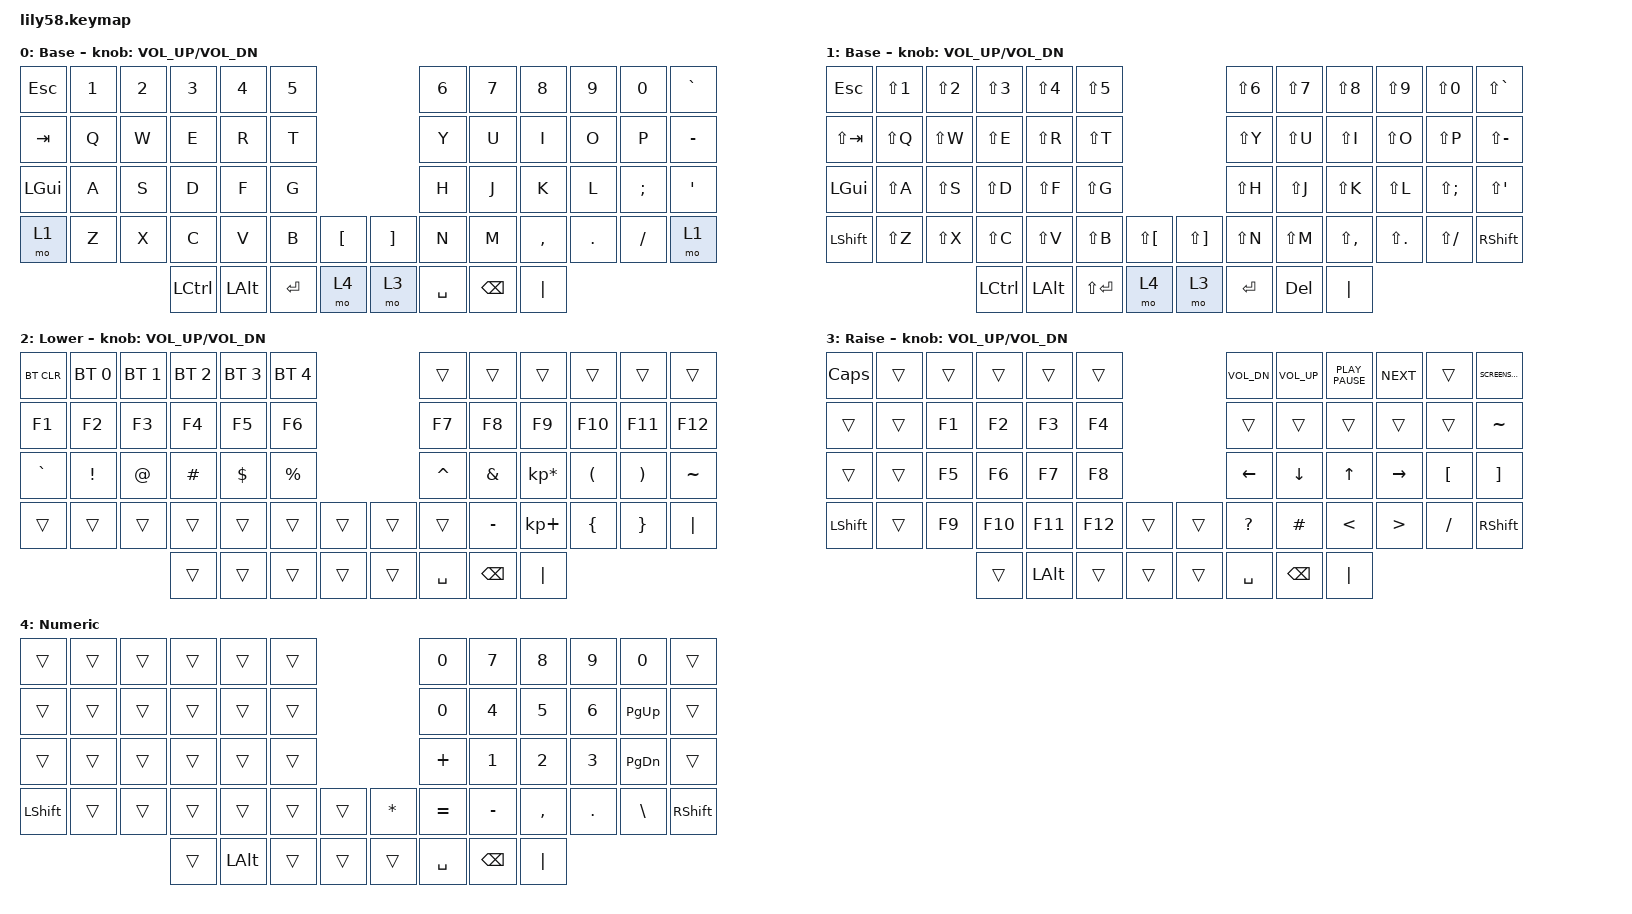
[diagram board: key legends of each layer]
/*
 * Copyright (c) 2020 The ZMK Contributors
 *
 * SPDX-License-Identifier: MIT
 */

#include <behaviors.dtsi>
#include <dt-bindings/zmk/bt.h>
#include <dt-bindings/zmk/keys.h>

/ {
    keymap {
        compatible = "zmk,keymap";

        default_layer {
            // ------------------------------------------------------------------------------------------------------------
            // |  ESC  |  1  |  2  |  3   |  4   |  5   |                   |  6   |  7    |  8    |  9   |   0   |   `   |
            // |  TAB  |  Q  |  W  |  E   |  R   |  T   |                   |  Y   |  U    |  I    |  O   |   P   |   -   |
            // |  CTRL |  A  |  S  |  D   |  F   |  G   |                   |  H   |  J    |  K    |  L   |   ;   |   '   |
            // | SHIFT |  Z  |  X  |  C   |  V   |  B   |   "["  |  |  "]"  |  N   |  M    |  ,    |  .   |   /   | SHIFT |
            //                     | ALT  | GUI  | LOWER|  SPACE |  | ENTER | RAISE| BSPC  | GUI   |

            display-name = "Base";
            bindings = <
&kp ESC   &kp N1  &kp N2  &kp N3     &kp N4    &kp N5                         &kp N6     &kp N7         &kp N8     &kp N9   &kp N0    &kp GRAVE
&kp TAB   &kp Q   &kp W   &kp E      &kp R     &kp T                          &kp Y      &kp U          &kp I      &kp O    &kp P     &kp MINUS
&kp LGUI  &kp A   &kp S   &kp D      &kp F     &kp G                          &kp H      &kp J          &kp K      &kp L    &kp SEMI  &kp SQT
&mo 1     &kp Z   &kp X   &kp C      &kp V     &kp B    &kp LBKT    &kp RBKT  &kp N      &kp M          &kp COMMA  &kp DOT  &kp FSLH  &mo 1
                          &kp LCTRL  &kp LALT  &kp RET  &mo 4       &mo 3     &kp SPACE  &kp BACKSPACE  &kp PIPE
            >;

            sensor-bindings = <&inc_dec_kp C_VOL_UP C_VOL_DN>;
        };

        shifted_base {
            display-name = "Base";
            bindings = <
&kp ESC         &kp LS(NUMBER_1)  &kp LS(N2)  &kp LS(N3)  &kp LS(N4)  &kp LS(N5)                                 &kp LS(N6)  &kp LS(N7)  &kp LS(N8)     &kp LS(N9)   &kp LS(N0)    &kp LS(GRAVE)
&kp LS(TAB)     &kp LS(Q)         &kp LS(W)   &kp LS(E)   &kp LS(R)   &kp LS(T)                                  &kp LS(Y)   &kp LS(U)   &kp LS(I)      &kp LS(O)    &kp LS(P)     &kp LS(MINUS)
&kp LGUI        &kp LS(A)         &kp LS(S)   &kp LS(D)   &kp LS(F)   &kp LS(G)                                  &kp LS(H)   &kp LS(J)   &kp LS(K)      &kp LS(L)    &kp LS(SEMI)  &kp LS(SQT)
&kp LEFT_SHIFT  &kp LS(Z)         &kp LS(X)   &kp LS(C)   &kp LS(V)   &kp LS(B)    &kp LS(LBKT)    &kp LS(RBKT)  &kp LS(N)   &kp LS(M)   &kp LS(COMMA)  &kp LS(DOT)  &kp LS(FSLH)  &kp RIGHT_SHIFT
                                              &kp LCTRL   &kp LALT    &kp LS(RET)  &mo 4           &mo 3         &kp RET     &kp DELETE  &kp PIPE
            >;

            sensor-bindings = <&inc_dec_kp C_VOL_UP C_VOL_DN>;
            label = "shifted_base";
        };

        lower_layer {
            // ------------------------------------------------------------------------------------------------------------
            // | BTCLR | BT1 | BT2 |  BT3 |  BT4 |  BT5 |                   |      |       |       |      |       |       |
            // |  F1   |  F2 |  F3 |  F4  |  F5  |  F6  |                   |  F7  |  F8   |  F9   |  F10 |  F11  |  F12  |
            // |   `   |  !  |  @  |  #   |  $   |  %   |                   |  ^   |  &    |  *    |  (   |   )   |   ~   |
            // |       |     |     |      |      |      |        |  |       |      |  _    |  +    |  {   |   }   |  "|"  |
            //                     |      |      |      |        |  |       |      |       |       |

            display-name = "Lower";
            bindings = <
&bt BT_CLR  &bt BT_SEL 0  &bt BT_SEL 1  &bt BT_SEL 2  &bt BT_SEL 3  &bt BT_SEL 4                    &trans     &trans         &trans           &trans    &trans    &trans
&kp F1      &kp F2        &kp F3        &kp F4        &kp F5        &kp F6                          &kp F7     &kp F8         &kp F9           &kp F10   &kp F11   &kp F12
&kp GRAVE   &kp EXCL      &kp AT        &kp HASH      &kp DOLLAR    &kp PRCNT                       &kp CARET  &kp AMPS       &kp KP_MULTIPLY  &kp LPAR  &kp RPAR  &kp TILDE
&trans      &trans        &trans        &trans        &trans        &trans        &trans    &trans  &trans     &kp MINUS      &kp KP_PLUS      &kp LBRC  &kp RBRC  &kp PIPE
                                        &trans        &trans        &trans        &trans    &trans  &kp SPACE  &kp BACKSPACE  &kp PIPE
            >;

            sensor-bindings = <&inc_dec_kp C_VOL_UP C_VOL_DN>;
        };

        raise_layer {
            // ------------------------------------------------------------------------------------------------------------
            // |       |     |     |      |      |      |                   |      |       |       |      |       |       |
            // |   `   |  1  |  2  |  3   |  4   |  5   |                   |  6   |   7   |   8   |  9   |   0   |       |
            // |   F1  |  F2 |  F3 |  F4  |  F5  |  F6  |                   |      |   <-  |   v   |  ^   |  ->   |       |
            // |   F7  |  F8 |  F9 |  F10 |  F11 |  F12 |        |  |       |  +   |   -   |   =   |  [   |   ]   |   \   |
            //                     |      |      |      |        |  |       |      |       |       |

            display-name = "Raise";
            bindings = <
&kp CAPSLOCK  &trans  &trans  &trans   &trans        &trans                     &kp C_VOL_DN  &kp C_VOLUME_UP  &kp K_PLAY_PAUSE  &kp K_NEXT        &trans            &kp K_SCREENSAVER
&trans        &trans  &kp F1  &kp F2   &kp F3        &kp F4                     &trans        &trans           &trans            &trans            &trans            &kp TILDE
&trans        &trans  &kp F5  &kp F6   &kp F7        &kp F8                     &kp LEFT      &kp DOWN         &kp UP            &kp RIGHT         &kp LEFT_BRACKET  &kp RIGHT_BRACKET
&kp LSHFT     &trans  &kp F9  &kp F10  &kp F11       &kp F12  &trans    &trans  &kp QUESTION  &kp HASH         &kp LESS_THAN     &kp GREATER_THAN  &kp SLASH         &kp RSHFT
                              &trans   &kp LEFT_ALT  &trans   &trans    &trans  &kp SPACE     &kp BACKSPACE    &kp PIPE
            >;

            sensor-bindings = <&inc_dec_kp C_VOL_UP C_VOL_DN>;
        };

        numeric_layer {
            bindings = <
&trans     &trans  &trans  &trans  &trans        &trans                          &kp N0     &kp N7         &kp NUMBER_8  &kp N9        &kp N0         &trans
&trans     &trans  &trans  &trans  &trans        &trans                          &kp N0     &kp NUMBER_4   &kp N5        &kp NUMBER_6  &kp PAGE_UP    &trans
&trans     &trans  &trans  &trans  &trans        &trans                          &kp PLUS   &kp NUMBER_1   &kp NUMBER_2  &kp NUMBER_3  &kp PAGE_DOWN  &trans
&kp LSHFT  &trans  &trans  &trans  &trans        &trans  &trans    &kp ASTERISK  &kp EQUAL  &kp MINUS      &kp COMMA     &kp DOT       &kp BACKSLASH  &kp RSHFT
                           &trans  &kp LEFT_ALT  &trans  &trans    &trans        &kp SPACE  &kp BACKSPACE  &kp PIPE
            >;

            label = "Numeric";
        };
    };

    conditional_layers { compatible = "zmk,conditional-layers"; };
};
